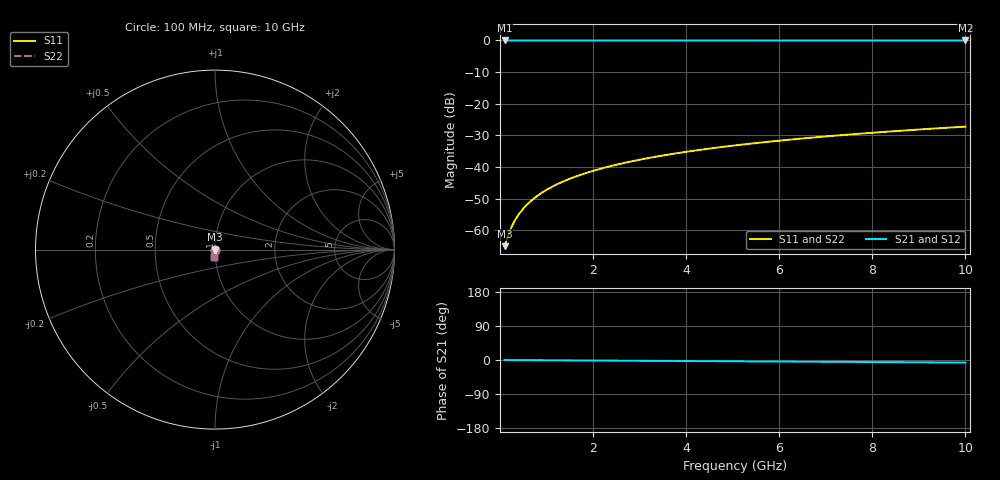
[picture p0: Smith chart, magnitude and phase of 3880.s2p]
# Hz S RI R 50.00
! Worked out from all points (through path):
!   100 points, 100 MHz to 10 GHz, reference 50 ohm
!   highest |S21| = 0.00 dB at 100 MHz (marker M1); lowest = 0.0 dB at 10 GHz (marker M2)
!   lowest |S11| = -65.0 dB at 100 MHz (marker M3), VSWR 1.00, Z = 50 - j0.0435 ohm
!   |S11| at or under -10 dB: start of sweep to end of sweep
!   |S22| runs from -65.0 to -27.2 dB; largest |S21 - S12| = 0
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1e8  0.000357 -0.000435  0.9996 -0.00118  0.9996 -0.00118  0.000357 -0.000435
2e8  0.000357 -0.00087  0.9996 -0.00236  0.9996 -0.00236  0.000357 -0.00087
3e8  0.000356 -0.00131  0.9996 -0.00355  0.9996 -0.00355  0.000356 -0.00131
4e8  0.000353 -0.00174  0.9996 -0.00473  0.9996 -0.00473  0.000353 -0.00174
5e8  0.000349 -0.00218  0.9996 -0.00591  0.9996 -0.00591  0.000349 -0.00218
6e8  0.000343 -0.00261  0.9996 -0.00709  0.9996 -0.00709  0.000343 -0.00261
7e8  0.000337 -0.00305  0.9996 -0.00827  0.9996 -0.00827  0.000337 -0.00305
8e8  0.000329 -0.00348  0.9996 -0.00946  0.9996 -0.00946  0.000329 -0.00348
9e8  0.000321 -0.00392  0.9996 -0.0106  0.9996 -0.0106  0.000321 -0.00392
1.1e9  0.0003 -0.00479  0.9995 -0.013  0.9995 -0.013  0.0003 -0.00479
1.4e9  0.000262 -0.00609  0.9995 -0.0165  0.9995 -0.0165  0.000262 -0.00609
1.8e9  0.000195 -0.00783  0.9994 -0.0213  0.9994 -0.0213  0.000195 -0.00783
2.1e9  0.000134 -0.00913  0.9993 -0.0248  0.9993 -0.0248  0.000134 -0.00913
2.5e9  3.9e-05 -0.0109  0.9991 -0.0295  0.9991 -0.0295  3.9e-05 -0.0109
2.9e9  -7.31e-05 -0.0126  0.9989 -0.0343  0.9989 -0.0343  -7.31e-05 -0.0126
3.4e9  -0.000236 -0.0148  0.9987 -0.0402  0.9987 -0.0402  -0.000236 -0.0148
4.2e9  -0.000552 -0.0183  0.9982 -0.0496  0.9982 -0.0496  -0.000552 -0.0183
5.1e9  -0.000985 -0.0222  0.9975 -0.0603  0.9975 -0.0603  -0.000985 -0.0222
5.9e9  -0.00144 -0.0256  0.9968 -0.0697  0.9968 -0.0697  -0.00144 -0.0256
6.7e9  -0.00196 -0.0291  0.996 -0.0792  0.996 -0.0792  -0.00196 -0.0291
8.4e9  -0.00329 -0.0364  0.9939 -0.0992  0.9939 -0.0992  -0.00329 -0.0364
1e10  -0.00481 -0.0432  0.9916 -0.1181  0.9916 -0.1181  -0.00481 -0.0432
